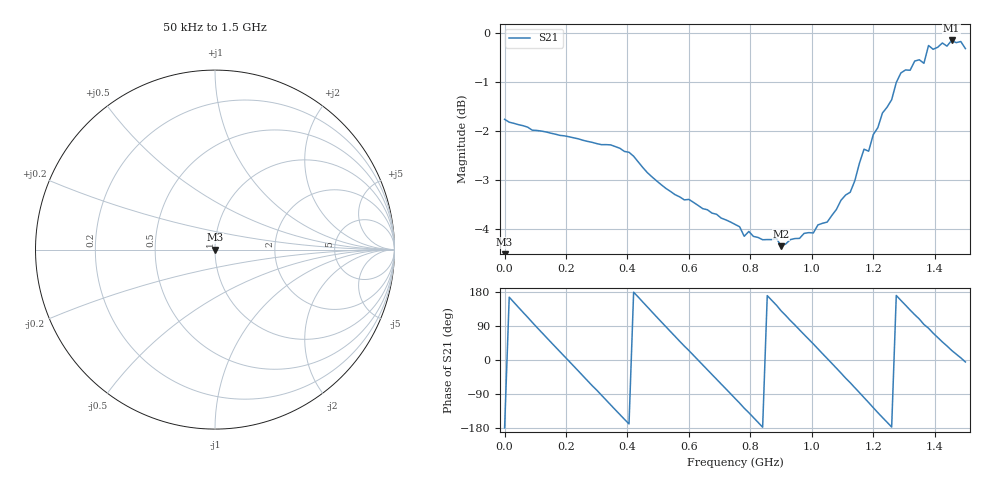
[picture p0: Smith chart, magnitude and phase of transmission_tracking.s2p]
! Created with skrf 1.8.0 (http://scikit-rf.org).
# Hz S RI R 50.0
!freq ReS11 ImS11 ReS21 ImS21 ReS12 ImS12 ReS22 ImS22
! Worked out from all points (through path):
!   101 points, 50 kHz to 1.5 GHz, reference 50 ohm
!   highest |S21| = -0.15 dB at 1.455 GHz (marker M1); lowest = -4.4 dB at 900 MHz (marker M2)
!   lowest |S11| = - dB at 50 kHz (marker M3), VSWR 1.00, Z = 50 + j0 ohm
!   |S11| at or under -10 dB: start of sweep to end of sweep
!   S12 and S22 are empty: the file has one direction only
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50000  0 0  -0.8163 -0.0129  0 0  0 0
6.0048e7  0 0  -0.4711 0.6518  0 0  0 0
1.050465e8  0 0  0.0521 0.7935  0 0  0 0
1.80044e8  0 0  0.7284 0.2956  0 0  0 0
2.550415e8  0 0  0.5789 -0.5184  0 0  0 0
3.30039e8  0 0  -0.2032 -0.7418  0 0  0 0
4.050365e8  0 0  -0.7408 -0.1479  0 0  0 0
5.10033e8  0 0  -0.1303 0.6875  0 0  0 0
6.30029e8  0 0  0.6664 -0.00384  0 0  0 0
6.90027e8  0 0  0.4127 -0.5057  0 0  0 0
7.50025e8  0 0  -0.1239 -0.6252  0 0  0 0
8.250225e8  0 0  -0.5956 -0.165  0 0  0 0
9.0002e8  0 0  -0.3882 0.4647  0 0  0 0
1.005016e9  0 0  0.4611 0.4214  0 0  0 0
1.080014e9  0 0  0.6142 -0.2419  0 0  0 0
1.155012e9  0 0  0.0513 -0.7342  0 0  0 0
1.20001e9  0 0  -0.4595 -0.6393  0 0  0 0
1.260008e9  0 0  -0.8537 -0.0461  0 0  0 0
1.305006e9  0 0  -0.7492 0.5288  0 0  0 0
1.380004e9  0 0  0.1042 0.9658  0 0  0 0
1.455002e9  0 0  0.8872 0.4234  0 0  0 0
1.5e9  0 0  0.9604 -0.0873  0 0  0 0
